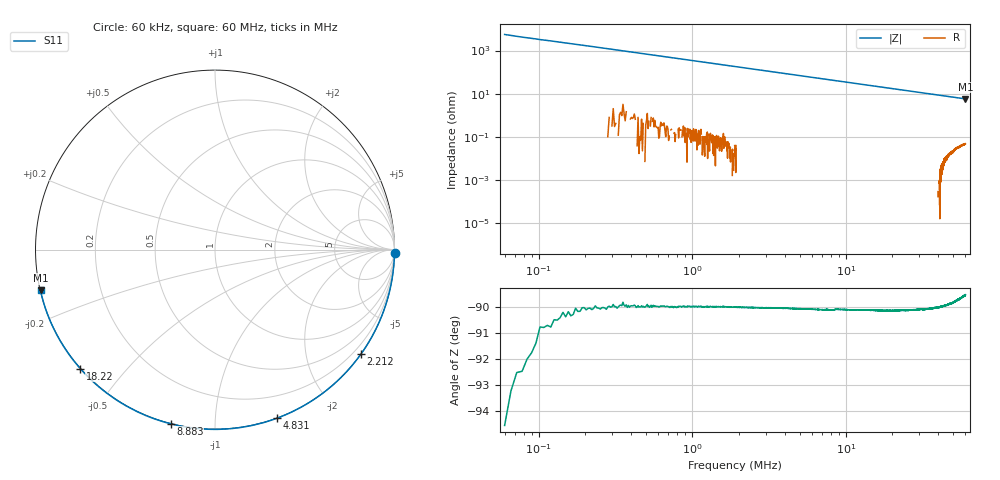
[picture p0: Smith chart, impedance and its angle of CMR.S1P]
!Keysight Technologies,E5063A,MY54100949,A.07.30
!Date: Wed Dec 31 02:37:48 2025
!Data & Calibration Information:
!Freq	S11:RESPO(ON)
# Hz S RI R 50
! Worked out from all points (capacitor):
!   10001 points, 60 kHz to 60 MHz, reference 50 ohm
!   read as one part to ground: C = 461 pF near 359.7 kHz
!   lowest |Z| = 5.75 ohm at 60 MHz (marker M1)
!   S11 on the Smith chart (normalised r, x): 60 kHz: open; 2.212 MHz: -0.00, -3.12; 4.831 MHz: -0.00, -1.43; 8.883 MHz: -0.00, -0.78; 18.22 MHz: -0.00, -0.38; 60 MHz: 0.00, -0.11
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60000  1.001 -0.0178
305754  0.9959 -0.0885
689370  0.9802 -0.1976
1084974  0.9517 -0.3066
1630428  0.8944 -0.4471
2211846  0.8142 -0.5809
2853204  0.7087 -0.7059
3488568  0.5939 -0.8052
4147908  0.4702 -0.8834
4831224  0.3433 -0.9402
5430624  0.2362 -0.973
6077976  0.1274 -0.9932
6785268  0.0177 -1.001
7552500  -0.0893 -0.9978
8883168  -0.2468 -0.9706
1.023182e7  -0.3746 -0.9289
1.167637e7  -0.4825 -0.8778
1.328276e7  -0.5754 -0.8199
1.5045e7  -0.6531 -0.7594
1.652552e7  -0.704 -0.7125
1.822182e7  -0.7502 -0.6635
2.25375e7  -0.8296 -0.5605
2.607995e7  -0.8701 -0.4948
3.003e7  -0.9005 -0.4365
3.75225e7  -0.935 -0.3554
4.5015e7  -0.9538 -0.2989
5.25075e7  -0.965 -0.2577
6e7  -0.9721 -0.2265
